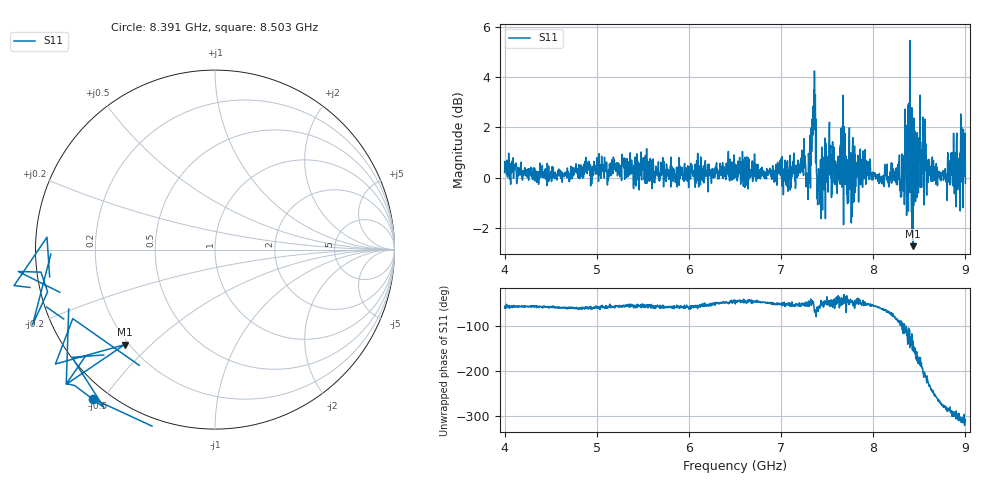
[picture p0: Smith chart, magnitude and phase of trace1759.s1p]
! Created with skrf 1.8.0 (http://scikit-rf.org).
# Hz S RI R 50.0
!freq ReS11 ImS11
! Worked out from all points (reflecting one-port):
!   1601 points, 4 GHz to 9 GHz, reference 50 ohm
!   lowest |S11| = -2.7 dB at 8.431 GHz (marker M1), VSWR 6.45, Z = 9.14 - j20.8 ohm
!   phase of S11 starts at -59 deg and turns -251 deg over the sweep
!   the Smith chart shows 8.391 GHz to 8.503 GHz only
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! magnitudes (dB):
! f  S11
! 4 GHz  0.2
! 4.625 GHz  -0.2
! 5.25 GHz  0.2
! 5.875 GHz  0.2
! 6.5 GHz  0.4
! 7.125 GHz  0.5
! 7.238 GHz  0.4
! 7.294 GHz  -0.9
! 7.353 GHz  1.9
! 7.409 GHz  0.0
! 7.509 GHz  -0.6
! 7.609 GHz  -0.6
! 7.669 GHz  2.0
! 7.7 GHz  0.2
! 7.75 GHz  -0.3
! 7.769 GHz  -1.0
! 7.891 GHz  0.1
! 8.316 GHz  0.4
! 8.375 GHz  -0.4
! 8.431 GHz  -2.7
! 8.447 GHz  1.9
! 8.459 GHz  -0.9
! 8.475 GHz  -0.8
! 8.519 GHz  0.8
! 8.603 GHz  0.7
! 8.778 GHz  0.1
! 8.972 GHz  0.2
! 9 GHz  -0.2
